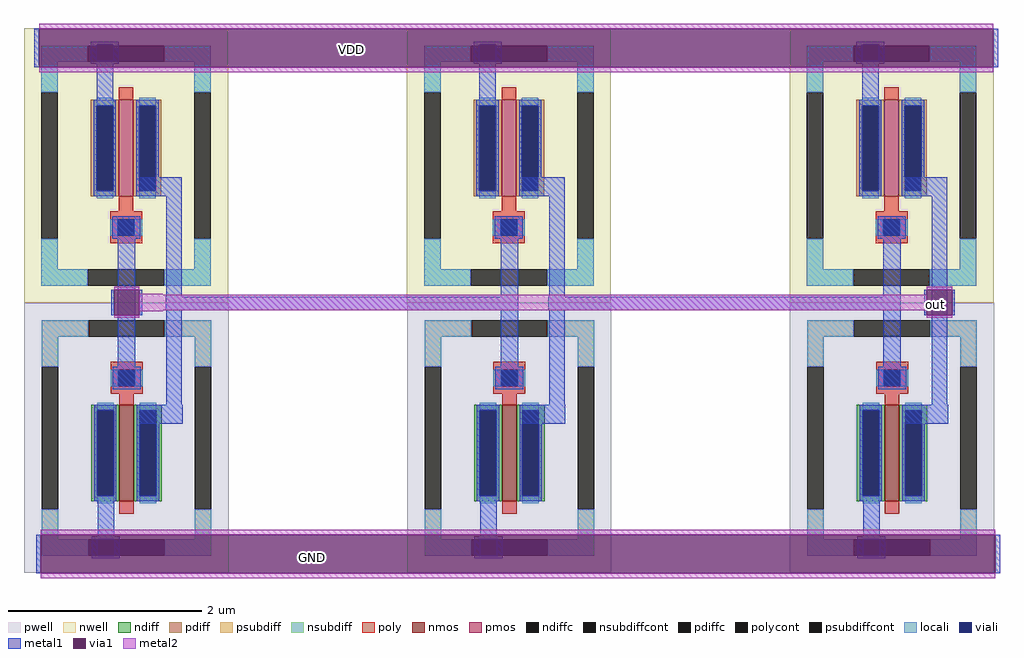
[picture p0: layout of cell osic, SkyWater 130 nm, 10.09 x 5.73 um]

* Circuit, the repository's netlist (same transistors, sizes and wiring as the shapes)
** sch_path: /home/tiredcrab/MSIB/inverter/osic.sch
.subckt osic VDD OUT GND
*.PININFO GND:I VDD:I OUT:O
x1 VDD OUT net1 GND inverter
x2 VDD net1 net2 GND inverter
x3 VDD net2 OUT GND inverter
.ends

* expanding   symbol:  inverter.sym # of pins=4
** sym_path: /home/tiredcrab/MSIB/inverter/inverter.sym
** sch_path: /home/tiredcrab/MSIB/inverter/inverter.sch
.subckt inverter VDD in OUT GND
*.PININFO in:I VDD:I GND:I OUT:O
XM1 OUT in GND GND sky130_fd_pr__nfet_01v8 L=0.15 W=1 nf=1 m=1
XM2 OUT in VDD VDD sky130_fd_pr__pfet_01v8 L=0.15 W=1 nf=1 m=1
.ends

.end

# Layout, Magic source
magic
tech sky130A
magscale 1 2
<< metal1 >>
rect 74 1152 84 1232
rect 2056 1152 2066 1232
rect 233 640 239 692
rect 291 640 297 692
rect 346 650 1074 678
rect 1136 650 1864 678
rect 1913 640 1919 692
rect 1971 640 1977 692
rect 78 106 88 186
rect 2060 106 2070 186
<< via1 >>
rect 84 1152 2056 1232
rect 239 640 291 692
rect 1919 640 1971 692
rect 88 106 2060 186
<< metal2 >>
rect 84 1232 2056 1242
rect 84 1142 2056 1152
rect 239 692 291 698
rect 1919 692 1971 698
rect 291 682 340 684
rect 291 650 1919 682
rect 291 648 340 650
rect 239 634 291 640
rect 1919 634 1971 640
rect 88 186 2060 196
rect 88 96 2060 106
use inverter  x1
transform 1 0 107 0 1 97
box -54 10 369 1136
use inverter  x2
transform 1 0 898 0 1 97
box -54 10 369 1136
use inverter  x3
transform 1 0 1689 0 1 97
box -54 10 369 1136
<< labels >>
flabel via1 728 1188 732 1188 0 FreeSans 160 0 0 0 VDD
port 10 nsew
flabel via1 648 138 652 138 0 FreeSans 160 0 0 0 GND
port 11 nsew
flabel via1 1934 662 1938 662 0 FreeSans 160 0 0 0 out
port 13 nsew
<< end >>

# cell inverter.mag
magic
tech sky130A
magscale 1 2
<< viali >>
rect 96 1068 130 1102
rect 98 46 132 80
<< metal1 >>
rect 84 1102 142 1108
rect 84 1068 96 1102
rect 130 1068 142 1102
rect 84 1062 142 1068
rect 96 976 130 1062
rect 178 788 272 828
rect 140 392 176 740
rect 240 358 272 788
rect 180 318 274 358
rect 98 86 132 158
rect 86 80 144 86
rect 86 46 98 80
rect 132 46 144 80
rect 86 40 144 46
use sky130_fd_pr__nfet_01v8_64Z3AY  XM1
transform 1 0 158 0 1 289
box -211 -279 211 279
use sky130_fd_pr__pfet_01v8_LGS3BL  XM2
transform 1 0 157 0 1 852
box -211 -284 211 284
<< labels >>
flabel viali 106 1082 106 1082 0 FreeSans 160 0 0 0 VDD
port 0 nsew
flabel metal1 254 572 254 572 0 FreeSans 160 0 0 0 OUT
port 2 nsew
flabel metal1 158 564 158 564 0 FreeSans 160 0 0 0 in
port 4 nsew
flabel viali 112 60 112 60 0 FreeSans 160 0 0 0 GND
port 5 nsew
<< end >>

# cell sky130_fd_pr__nfet_01v8_64Z3AY: kit device sky130_fd_pr__nfet_01v8, w 1.0 l 0.15 m 1 nf 1 diffcov 100 polycov 100 guard 1 glc 1 grc 1 gtc 1 gbc 1 tbcov 100 rlcov 100 topc 1 botc 0 poverlap 0 doverlap 1 lmin 0.15 wmin 0.42 compatible {sky130_fd_pr__nfet_01v8 sky130_fd_pr__nfet_01v8_lvt sky130_fd_bs_flash__special_sonosfet_star sky130_fd_pr__nfet_g5v0d10v5 sky130_fd_pr__nfet_05v0_nvt sky130_fd_pr__nfet_03v3_nvt} full_metal 1 viasrc 100 viadrn 100 viagate 100 viagb 0 viagr 0 viagl 0 viagt 0

# cell sky130_fd_pr__pfet_01v8_LGS3BL: kit device sky130_fd_pr__pfet_01v8, w 1.0 l 0.15 m 1 nf 1 diffcov 100 polycov 100 guard 1 glc 1 grc 1 gtc 1 gbc 1 tbcov 100 rlcov 100 topc 0 botc 1 poverlap 0 doverlap 1 lmin 0.15 wmin 0.42 compatible {sky130_fd_pr__pfet_01v8 sky130_fd_pr__pfet_01v8_lvt sky130_fd_pr__pfet_01v8_hvt sky130_fd_pr__pfet_g5v0d10v5} full_metal 1 viasrc 100 viadrn 100 viagate 100 viagb 0 viagr 0 viagl 0 viagt 0
